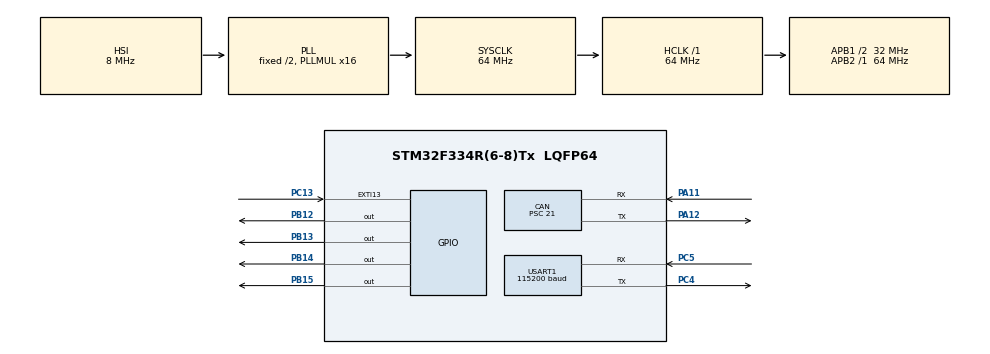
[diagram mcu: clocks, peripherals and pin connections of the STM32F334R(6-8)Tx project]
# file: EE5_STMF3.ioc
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CAN.BS1=CAN_BS1_12TQ
CAN.BS2=CAN_BS2_4TQ
CAN.CalculateBaudRate=89635
CAN.CalculateTimeBit=11156.25
CAN.CalculateTimeQuantum=656.25
CAN.Prescaler=21
Mcu.Family=STM32F3
Mcu.Name=STM32F334R(6-8)Tx
Mcu.Package=LQFP64
NVIC.CAN_RX0_IRQn=true\:0\:0\:false\:false\:true\:true\:true
NVIC.EXTI15_10_IRQn=true\:0\:0\:false\:false\:true\:true\:true
NVIC.PriorityGroup=NVIC_PRIORITYGROUP_0
PA11.Mode=CAN_Activate
PA11.Signal=CAN_RX
PA12.Mode=CAN_Activate
PA12.Signal=CAN_TX
PB12.Signal=GPIO_Output
PB13.Signal=GPIO_Output
PB14.Signal=GPIO_Output
PB15.Signal=GPIO_Output
PC13.Signal=GPXTI13
PC4.Mode=Asynchronous
PC4.Signal=USART1_TX
PC5.Mode=Asynchronous
PC5.Signal=USART1_RX
PF0\ /\ OSC_IN.Mode=HSE-External-Oscillator
PF0\ /\ OSC_IN.Signal=RCC_OSC_IN
PF1\ /\ OSC_OUT.Mode=HSE-External-Oscillator
PF1\ /\ OSC_OUT.Signal=RCC_OSC_OUT
ProjectManager.HeapSize=0x200
ProjectManager.StackSize=0x400
ProjectManager.TargetToolchain=STM32CubeIDE
RCC.AHBFreq_Value=64000000
RCC.APB1CLKDivider=RCC_HCLK_DIV2
RCC.APB1Freq_Value=32000000
RCC.APB1TimFreq_Value=64000000
RCC.APB2Freq_Value=64000000
RCC.APB2TimFreq_Value=64000000
RCC.CortexFreq_Value=64000000
RCC.FLatency-AdvancedSettings=FLASH_LATENCY_2
RCC.HCLKFreq_Value=64000000
RCC.HSE_VALUE=8000000
RCC.HSI_VALUE=8000000
RCC.LSE_VALUE=32768
RCC.PLLMUL=RCC_PLL_MUL16
RCC.SYSCLKFreq_VALUE=64000000
RCC.SYSCLKSourceVirtual=RCC_SYSCLKSOURCE_PLLCLK
USART1.BaudRate=115200
USART1.VirtualMode-Asynchronous=VM_ASYNC
board=NUCLEO-F334R8

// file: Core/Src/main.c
/* USER CODE BEGIN Header */
/**
 ******************************************************************************
 * @file           : main.c
 * @brief          : Main program body
 ******************************************************************************
 * @attention
 *
 * <h2><center>&copy; Copyright (c) 2021 STMicroelectronics.
 * All rights reserved.</center></h2>
 *
 * This software component is licensed by ST under BSD 3-Clause license,
 * the "License"; You may not use this file except in compliance with the
 * License. You may obtain a copy of the License at:
 *                        opensource.org/licenses/BSD-3-Clause
 *
 ******************************************************************************
 */
/* USER CODE END Header */
#include "main.h"

/* USER CODE BEGIN PD */
#define FIRST_DAMAGE_TH 10 //this is percent
#define SECOND_DAMAGE_TH 50
/* USER CODE END PD */

CAN_HandleTypeDef hcan;

UART_HandleTypeDef huart1;

/* USER CODE BEGIN PV */
CAN_FilterTypeDef sFilterConfig;
CAN_RxHeaderTypeDef RxHeader;
peripheral my_ID = DASHBOARD;
uint8_t Rbuffer[8], DEBUGbuffer[8];
car_telemetry_packet my_car_telemetry_packet;
lap_data_packet my_lap_data_packet;
session_packet my_session_packet;
car_status_packet my_car_status_packet;

/* USER CODE END PV */

void SystemClock_Config(void);
static void MX_GPIO_Init(void);
static void MX_CAN_Init(void);
static void MX_USART1_UART_Init(void);
/* USER CODE BEGIN PFP */
uint8_t getdamageColorRG(int damage);
/* USER CODE END PFP */

int main(void) {

	/* MCU Configuration--------------------------------------------------------*/

	/* Reset of all peripherals, Initializes the Flash interface and the Systick. */
	HAL_Init();

	/* Configure the system clock */
	SystemClock_Config();

	/* Initialize all configured peripherals */
	MX_GPIO_Init();
	MX_CAN_Init();
	MX_USART1_UART_Init();
	/* USER CODE BEGIN 2 */

	sFilterConfig.FilterActivation = ENABLE;
	sFilterConfig.FilterFIFOAssignment = CAN_FILTER_FIFO0;
	sFilterConfig.FilterIdHigh = 0x0; //line up the higher ID for a compare (11 bits and 16 bits give 5 bit shift)
//  sFilterConfig.FilterIdHigh = (car_telemetryID<<5|DASHBOARD)<<5;	//line up the higher ID for a compare (11 bits and 16 bits give 5 bit shift)
	sFilterConfig.FilterIdLow = 0x0;
//	sFilterConfig.FilterMaskIdHigh = 0xFFFF<<5;	//0000001111100000
	sFilterConfig.FilterMaskIdHigh = 0x0000;	//0000001111100000
	sFilterConfig.FilterMaskIdLow = 0x00;
	sFilterConfig.FilterMode = CAN_FILTERMODE_IDMASK;
	sFilterConfig.FilterScale = CAN_FILTERSCALE_32BIT;
	sFilterConfig.FilterBank = 0;

	HAL_CAN_ConfigFilter(&hcan, &sFilterConfig);
	HAL_CAN_Start(&hcan);
	HAL_CAN_ActivateNotification(&hcan, CAN_IT_RX_FIFO0_MSG_PENDING); //last argument is mask of activated ITs just OR| them together

	// UART DASHBOARD TEMPLATES:
	uint8_t speed[8] = { 0x5A, 0xA5, 0x05, 0x82, 0x00, 0x01, 0x00, 0x00 };
	uint8_t throttle[20] = { 0x5A, 0xA5, 0x17, 0x82, 0x00, 0x10, 0x00, 0x04,
			0x00, 0x01, 0x00, 0x4C, 0x00, 0x1E, 0x00, 0x6F, 0x00, 0xAA, 0x00,
			0x00 };
	uint8_t brake[20] = { 0x5A, 0xA5, 0x17, 0x82, 0x00, 0x11, 0x00, 0x04, 0x00,
			0x01, 0x00, 0x0E, 0x00, 0x18, 0x00, 0x33, 0x00, 0xAB, 0x00, 0x00 };
	uint8_t gear[8] = { 0x5A, 0xA5, 0x05, 0x82, 0x00, 0x03, 0x00, 0x00 };
	uint8_t currentLapTime[8] =
			{ 0x5A, 0xA5, 0x05, 0x82, 0x00, 0x02, 0x00, 0x00 };
	uint8_t carPosition[8] = { 0x5A, 0xA5, 0x05, 0x82, 0x00, 0x06, 0x00, 0x00 };
	uint8_t currentLapNum[8] =
			{ 0x5A, 0xA5, 0x05, 0x82, 0x00, 0x06, 0x00, 0x00 };
	uint8_t totalLaps[8] = { 0x5A, 0xA5, 0x05, 0x82, 0x00, 0x05, 0x00, 0x00 };
	uint8_t frontLeftWingDamage[20] = { 0x5A, 0xA5, 0x17, 0x82, 0x00, 0x13,
			0x00, 0x04, 0x00, 0x01, 0x00, 0x88, 0x00, 0xE7, 0x00, 0x9D, 0x01,
			0x04, 0xF0, 0x00 };
	uint8_t frontRightWingDamage[20] = { 0x5A, 0xA5, 0x17, 0x82, 0x00, 0x12,
			0x00, 0x04, 0x00, 0x01, 0x00, 0x88, 0x00, 0xB6, 0x00, 0x9D, 0x00,
			0xD3, 0xF0, 0x00 };
	uint8_t rearWingDamage[20] = { 0x5A, 0xA5, 0x17, 0x82, 0x00, 0x14, 0x00,
			0x04, 0x00, 0x01, 0x01, 0x55, 0x00, 0xCB, 0x01, 0x6A, 0x00, 0xEA,
			0xF0, 0x00 }
	；
	uint8_t engineDamage[20] = { 0x5A, 0xA5, 0x17, 0x82, 0x00, 0x15, 0x00, 0x04,
			0x00, 0x01, 0x00, 0xEE, 0x00, 0xC9, 0x01, 0x2A, 0x00, 0xF0, 0xF0,
			0x00 };
	uint8_t FRTyre[20] = { 0x5A, 0xA5, 0x17, 0x82, 0x00, 0x16, 0x00, 0x04, 0x00,
			0x01, 0x00, 0xA9, 0x00, 0xAE, 0x00, 0xC9, 0x00, 0xC4, 0xF0, 0x00 };
	uint8_t FLTyre[20] = { 0x5A, 0xA5, 0x17, 0x82, 0x00, 0x17, 0x00, 0x04, 0x00,
			0x01, 0x00, 0xAA, 0x00, 0xF8, 0x00, 0xC9, 0x01, 0x0C, 0xF0, 0x00 };
	uint8_t BRTyre[20] = { 0x5A, 0xA5, 0x17, 0x82, 0x00, 0x18, 0x00, 0x04, 0x00,
			0x01, 0x01, 0x46, 0x00, 0xAE, 0x01, 0x65, 0x00, 0xC4, 0xF0, 0x00 };
	uint8_t BLTyre[20] = { 0x5A, 0xA5, 0x17, 0x82, 0x00, 0x19, 0x00, 0x04, 0x00,
			0x01, 0x01, 0x46, 0x00, 0xF2, 0x01, 0x66, 0x01, 0x07, 0xF0, 0x00 };
	/* USER CODE END 2 */

	/* Infinite loop */
	while (1) {
		switch (my_ID) {

		case DASHBOARD: {
			//car_telemetry
			speed[6] = ((uint16_t) my_car_telemetry_packet.m_speed * 180 / 400)
					>> 8; //highest byte of a degree rotation where 400 kmh is 180 degrees
			speed[7] = ((uint16_t) my_car_telemetry_packet.m_speed * 180 / 400)
					& 0xFF; //lowest byte of a degree rotation where 400 kmh is 180 degrees
			HAL_UART_Transmit(&huart1, speed, sizeof(speed), 1000);

			throttle[17] = 30 + (my_car_telemetry_packet.throttle * 140 / 100);
			HAL_UART_Transmit(&huart1, throttle, sizeof(throttle), 1000);

			brake[17] = 30 + (my_car_telemetry_packet.brake * 140 / 100);
			HAL_UART_Transmit(&huart1, brake, sizeof(brake), 1000);

			gear[6] = ((uint16_t) my_car_telemetry_packet.gear) >> 8;
			gear[7] = ((uint16_t) my_car_telemetry_packet.gear) & 0xFF;
			HAL_UART_Transmit(&huart1, gear, sizeof(gear), 1000);

			//lap_data

			currentLapTime[6] = ((uint16_t) (my_lap_data_packet.m_currentLapTime
					* 100)) >> 8;
			currentLapTime[7] = ((uint16_t) (my_lap_data_packet.m_currentLapTime
					* 100)) & 0xFF;
			HAL_UART_Transmit(&huart1, currentLapTime, sizeof(currentLapTime),
					1000);

			carPosition[6] = (uint16_t) (my_lap_data_packet.m_carPosition) >> 8;
			carPosition[7] = (uint16_t) (my_lap_data_packet.m_carPosition)
					& 0xFF;
			HAL_UART_Transmit(&huart1, carPosition, sizeof(carPosition), 1000);

			currentLapNum[6] = (uint16_t) (my_lap_data_packet.m_currentLapNum)
					>> 8;
			currentLapNum[7] = (uint16_t) (my_lap_data_packet.m_currentLapNum)
					& 0xFF;
			HAL_UART_Transmit(&huart1, currentLapNum, sizeof(currentLapNum),
					1000);

			//session

			totalLaps[6] = (uint16_t) (my_session_packet.m_totalLaps) >> 8;
			totalLaps[7] = (uint16_t) (my_session_packet.m_totalLaps) & 0xFF;
			HAL_UART_Transmit(&huart1, totalLaps, sizeof(totalLaps), 1000);

			//car_status
			frontLeftWingDamage[18] = getdamageColorRG(
					my_car_status_packet.m_frontLeftWingDamage);
			HAL_UART_Transmit(&huart1, frontLeftWingDamage,
					sizeof(frontLeftWingDamage), 1000);

			frontRightWingDamage[18] = getdamageColorRG(
					my_car_status_packet.m_frontRightWingDamage);
			HAL_UART_Transmit(&huart1, frontRightWingDamage,
					sizeof(frontRightWingDamage), 1000);

			rearWingDamage[18] = getdamageColorRG(
					my_car_status_packet.m_rearWingDamage);
			HAL_UART_Transmit(&huart1, rearWingDamage, sizeof(rearWingDamage),
					1000);

			engineDamage[18] = getdamageColorRG(
					my_car_status_packet.m_engineDamage);
			HAL_UART_Transmit(&huart1, engineDamage, sizeof(engineDamage),
					1000);
			//tyres: TODO: check which index corresponds with wich tyre
			FRTyre[18] = getdamageColorRG(my_car_status_packet.m_tyresWear[0]);
			HAL_UART_Transmit(&huart1, FRTyre, sizeof(FRTyre), 1000);

			FLTyre[18] = getdamageColorRG(my_car_status_packet.m_tyresWear[1]);
			HAL_UART_Transmit(&huart1, FLTyre, sizeof(FLTyre), 1000);

			BRTyre[18] = getdamageColorRG(my_car_status_packet.m_tyresWear[2]);
			HAL_UART_Transmit(&huart1, BRTyre, sizeof(BRTyre), 1000);

			BLTyre[18] = getdamageColorRG(my_car_status_packet.m_tyresWear[3]);
			HAL_UART_Transmit(&huart1, BLTyre, sizeof(BLTyre), 1000);

		}
			break;
		case MIST_FAN:
			break;
		case COLOR_FLAGS:
			break;
		case BROADCAST:
			break;
		case LEDS:
			break;
//		HAL_Delay(100);
//		if(HAL_CAN_GetRxFifoFillLevel(&hcan, CAN_RX_FIFO0)!=0){
//			HAL_CAN_GetRxMessage(&hcan, CAN_RX_FIFO0, &RxHeader, DEBUGbuffer);
//		}
			//show the current speed in chunks of 10 on the output leds in binary form
			// example: speed is 125 kmh -> 12 % 16 -> 12 in binary on the leds
			/* USER CODE END 3 */
		}
		/* USER CODE END WHILE */

	}
}

void SystemClock_Config(void) {
	RCC_OscInitTypeDef RCC_OscInitStruct = { 0 };
	RCC_ClkInitTypeDef RCC_ClkInitStruct = { 0 };
	RCC_PeriphCLKInitTypeDef PeriphClkInit = { 0 };

	/** Initializes the RCC Oscillators according to the specified parameters
	 * in the RCC_OscInitTypeDef structure.
	 */
	RCC_OscInitStruct.OscillatorType = RCC_OSCILLATORTYPE_HSI;
	RCC_OscInitStruct.HSIState = RCC_HSI_ON;
	RCC_OscInitStruct.HSICalibrationValue = RCC_HSICALIBRATION_DEFAULT;
	RCC_OscInitStruct.PLL.PLLState = RCC_PLL_ON;
	RCC_OscInitStruct.PLL.PLLSource = RCC_PLLSOURCE_HSI;
	RCC_OscInitStruct.PLL.PLLMUL = RCC_PLL_MUL16;
	if (HAL_RCC_OscConfig(&RCC_OscInitStruct) != HAL_OK) {
		Error_Handler();
	}
	/** Initializes the CPU, AHB and APB buses clocks
	 */
	RCC_ClkInitStruct.ClockType = RCC_CLOCKTYPE_HCLK | RCC_CLOCKTYPE_SYSCLK
			| RCC_CLOCKTYPE_PCLK1 | RCC_CLOCKTYPE_PCLK2;
	RCC_ClkInitStruct.SYSCLKSource = RCC_SYSCLKSOURCE_PLLCLK;
	RCC_ClkInitStruct.AHBCLKDivider = RCC_SYSCLK_DIV1;
	RCC_ClkInitStruct.APB1CLKDivider = RCC_HCLK_DIV2;
	RCC_ClkInitStruct.APB2CLKDivider = RCC_HCLK_DIV1;

	if (HAL_RCC_ClockConfig(&RCC_ClkInitStruct, FLASH_LATENCY_2) != HAL_OK) {
		Error_Handler();
	}
	PeriphClkInit.PeriphClockSelection = RCC_PERIPHCLK_USART1;
	PeriphClkInit.Usart1ClockSelection = RCC_USART1CLKSOURCE_PCLK1;
	if (HAL_RCCEx_PeriphCLKConfig(&PeriphClkInit) != HAL_OK) {
		Error_Handler();
	}
}

static void MX_CAN_Init(void) {

	hcan.Instance = CAN;
	hcan.Init.Prescaler = 21;
	hcan.Init.Mode = CAN_MODE_NORMAL;
	hcan.Init.SyncJumpWidth = CAN_SJW_1TQ;
	hcan.Init.TimeSeg1 = CAN_BS1_12TQ;
	hcan.Init.TimeSeg2 = CAN_BS2_4TQ;
	hcan.Init.TimeTriggeredMode = DISABLE;
	hcan.Init.AutoBusOff = DISABLE;
	hcan.Init.AutoWakeUp = DISABLE;
	hcan.Init.AutoRetransmission = DISABLE;
	hcan.Init.ReceiveFifoLocked = DISABLE;
	hcan.Init.TransmitFifoPriority = DISABLE;
	if (HAL_CAN_Init(&hcan) != HAL_OK) {
		Error_Handler();
	}

}

static void MX_USART1_UART_Init(void) {

	huart1.Instance = USART1;
	huart1.Init.BaudRate = 115200;
	huart1.Init.WordLength = UART_WORDLENGTH_8B;
	huart1.Init.StopBits = UART_STOPBITS_1;
	huart1.Init.Parity = UART_PARITY_NONE;
	huart1.Init.Mode = UART_MODE_TX_RX;
	huart1.Init.HwFlowCtl = UART_HWCONTROL_NONE;
	huart1.Init.OverSampling = UART_OVERSAMPLING_16;
	huart1.Init.OneBitSampling = UART_ONE_BIT_SAMPLE_DISABLE;
	huart1.AdvancedInit.AdvFeatureInit = UART_ADVFEATURE_NO_INIT;
	if (HAL_UART_Init(&huart1) != HAL_OK) {
		Error_Handler();
	}

}

static void MX_GPIO_Init(void) {
	GPIO_InitTypeDef GPIO_InitStruct = { 0 };

	/* GPIO Ports Clock Enable */
	__HAL_RCC_GPIOC_CLK_ENABLE();
	__HAL_RCC_GPIOF_CLK_ENABLE();
	__HAL_RCC_GPIOB_CLK_ENABLE();
	__HAL_RCC_GPIOA_CLK_ENABLE();

	/*Configure GPIO pin Output Level */
	HAL_GPIO_WritePin(GPIOB,
	GPIO_PIN_12 | GPIO_PIN_13 | GPIO_PIN_14 | GPIO_PIN_15, GPIO_PIN_RESET);

	/*Configure GPIO pin : PC13 */
	GPIO_InitStruct.Pin = GPIO_PIN_13;
	GPIO_InitStruct.Mode = GPIO_MODE_IT_RISING;
	GPIO_InitStruct.Pull = GPIO_NOPULL;
	HAL_GPIO_Init(GPIOC, &GPIO_InitStruct);

	/*Configure GPIO pins : PB12 PB13 PB14 PB15 */
	GPIO_InitStruct.Pin = GPIO_PIN_12 | GPIO_PIN_13 | GPIO_PIN_14 | GPIO_PIN_15;
	GPIO_InitStruct.Mode = GPIO_MODE_OUTPUT_PP;
	GPIO_InitStruct.Pull = GPIO_NOPULL;
	GPIO_InitStruct.Speed = GPIO_SPEED_FREQ_LOW;
	HAL_GPIO_Init(GPIOB, &GPIO_InitStruct);

	/* EXTI interrupt init*/
	HAL_NVIC_SetPriority(EXTI15_10_IRQn, 0, 0);
	HAL_NVIC_EnableIRQ(EXTI15_10_IRQn);

}

/* USER CODE BEGIN 4 */
uint8_t getdamageColorRG(int damage) {
	if (damage < FIRST_DAMAGE_TH) {
		return 0x0F; //full green
	} else if (damage < SECOND_DAMAGE_TH) { //almost no damage
		return 0xFA; //orange
	} else if (damage > SECOND_DAMAGE_TH) { //a lot of damage
		return 0xF0; //full red
	}
	return 0;
}
/* USER CODE END 4 */

void Error_Handler(void) {
	__disable_irq();
	while (1) {
	}
}

/************************ (C) COPYRIGHT STMicroelectronics *****END OF FILE****/
